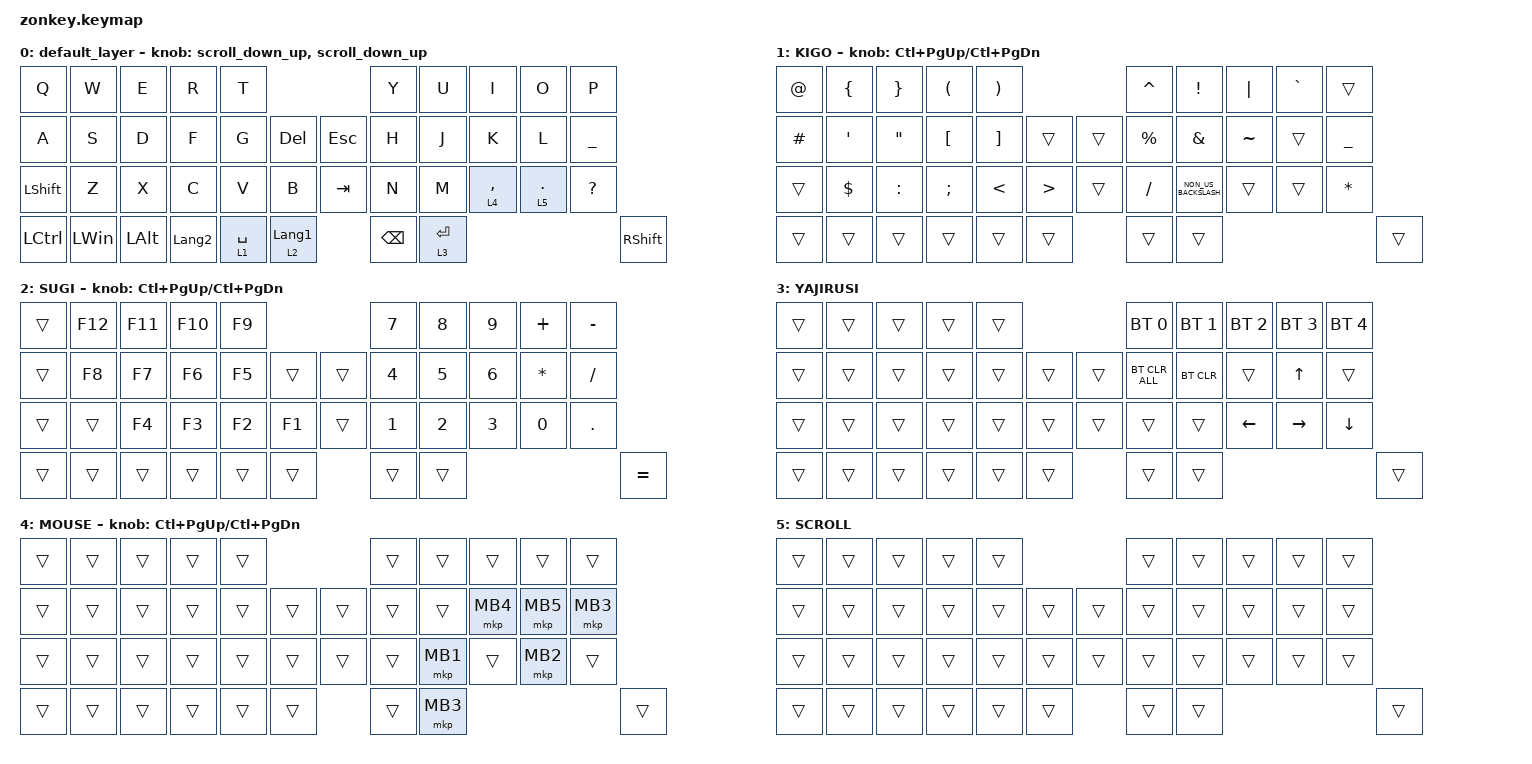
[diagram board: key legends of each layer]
#include <physical_layouts.dtsi>
#include <behaviors.dtsi>
#include <dt-bindings/zmk/bt.h>
#include <dt-bindings/zmk/keys.h>
#include <dt-bindings/zmk/pointing.h>

#define ZMK_POINTING_DEFAULT_SCRL_VAL 100
#define MOUSE 4
#define SCROLL 5
#define DFb 0
#define JIS 1
#define BT 4
#define JP_DQUOTE       AT                // "
#define JP_AMPERSAND    CARET             // &
#define JP_QUOTE        AMPERSAND         // '
#define JP_EQUAL        UNDER             // =
#define JP_CARET        EQUAL             // ^
#define JP_YEN          0x89              // ¥
#define JP_PLUS         COLON             // +
#define JP_TILDE        PLUS              // ~
#define JP_PIPE         LS(0x89)          // |
#define JP_AT           LEFT_BRACKET      // @
#define JP_COLON        SINGLE_QUOTE      // :
#define JP_ASTERISK     DOUBLE_QUOTES     // *
#define JP_BACKQUOTE    LEFT_BRACE        // `
#define JP_UNDERSCORE   LS(0x87)          // _
#define JP_LBRACKET     RIGHT_BRACKET     // [
#define JP_RBRACKET     BACKSLASH         // ]
#define JP_LPAREN       ASTERISK          // (
#define JP_RPAREN       LEFT_PARENTHESIS  // )
#define JP_LBRACE       RIGHT_BRACE       // {
#define JP_RBRACE       PIPE              // }
#define JP_KANA         LANGUAGE_1        // かな
#define JP_EISU         LANGUAGE_2        // 英数
#define JP_HANZEN       GRAVE             // 半角/全角
#define JP_BSLH  INT1         // (backslash)

&mt {
    flavor = "balanced";
    quick-tap-ms = <0>;
};

/ {
    combos { compatible = "zmk,combos"; };

    macros {
        to_layer_0: to_layer_0 {
            compatible = "zmk,behavior-macro-one-param";
            #binding-cells = <1>;
            bindings = <&to 0 &macro_param_1to1 &kp MACRO_PLACEHOLDER>;
            label = "TO_LAYER_0";
        };
    };

    behaviors {
        lt_to_layer_0: lt_to_layer_0 {
            compatible = "zmk,behavior-hold-tap";
            label = "LAYER_TAP_TO_0";
            bindings = <&mo>, <&to_layer_0>;

            #binding-cells = <2>;
            tapping-term-ms = <200>;
        };

        scroll_down_up: behavior_sensor_rotate_mouse_wheel_down_up {
            compatible = "zmk,behavior-sensor-rotate";
            #sensor-binding-cells = <0>;
            bindings = <&msc SCRL_DOWN>, <&msc SCRL_UP>;

            tap-ms = <20>;
        };
    };

    keymap {
        compatible = "zmk,keymap";

        default_layer {
            sensor-bindings = <&scroll_down_up>, <&scroll_down_up>;

            bindings = <
&kp Q           &kp W         &kp E         &kp R           &kp T                                        &kp Y          &kp U        &kp I        &kp O         &kp P
&kp A           &kp S         &kp D         &kp F           &kp G        &kp DELETE          &kp ESCAPE  &kp H          &kp J        &kp K        &kp L         &kp UNDERSCORE
&kp LEFT_SHIFT  &kp Z         &kp X         &kp C           &kp V        &kp B               &kp TAB     &kp N          &kp M        &lt 4 COMMA  &lt 5 PERIOD  &kp QUESTION
&kp LCTRL       &kp LEFT_WIN  &kp LEFT_ALT  &kp LANGUAGE_2  &lt 1 SPACE  &lt 2 LANGUAGE_1                &kp BACKSPACE  &lt 3 ENTER                                             &kp RIGHT_SHIFT
            >;
        };

        KIGO {
            bindings = <
&kp AT_SIGN  &kp LEFT_BRACE  &kp RIGHT_BRACE    &kp LEFT_PARENTHESIS  &kp RIGHT_PARENTHESIS                              &kp CARET    &kp EXCLAMATION       &kp PIPE   &kp GRAVE  &trans
&kp HASH     &kp SQT         &kp DOUBLE_QUOTES  &kp LEFT_BRACKET      &kp RIGHT_BRACKET      &trans              &trans  &kp PERCENT  &kp AMPERSAND         &kp TILDE  &trans     &kp UNDERSCORE
&trans       &kp DOLLAR      &kp COLON          &kp SEMICOLON         &kp LESS_THAN          &kp GREATER_THAN    &trans  &kp SLASH    &kp NON_US_BACKSLASH  &trans     &trans     &kp ASTERISK
&trans       &trans          &trans             &trans                &trans                 &trans                      &trans       &trans                                                      &trans
            >;

            sensor-bindings = <&inc_dec_kp LC(PAGE_UP) LC(PAGE_DOWN)>;
        };

        SUGI {
            bindings = <
&trans  &kp F12  &kp F11  &kp F10  &kp F9                    &kp N7        &kp N8        &kp N9        &kp PLUS      &kp MINUS
&trans  &kp F8   &kp F7   &kp F6   &kp F5  &trans    &trans  &kp NUMBER_4  &kp N5        &kp NUMBER_6  &kp ASTERISK  &kp SLASH
&trans  &trans   &kp F4   &kp F3   &kp F2  &kp F1    &trans  &kp NUMBER_1  &kp NUMBER_2  &kp NUMBER_3  &kp N0        &kp PERIOD
&trans  &trans   &trans   &trans   &trans  &trans            &trans        &trans                                                &kp EQUAL
            >;

            sensor-bindings = <&inc_dec_kp LC(PAGE_UP) LC(PAGE_DOWN)>;
        };

        YAJIRUSI {
            bindings = <
&trans  &trans  &trans  &trans  &trans                    &bt BT_SEL 0    &bt BT_SEL 1  &bt BT_SEL 2  &bt BT_SEL 3  &bt BT_SEL 4
&trans  &trans  &trans  &trans  &trans  &trans    &trans  &bt BT_CLR_ALL  &bt BT_CLR    &trans        &kp UP_ARROW  &trans
&trans  &trans  &trans  &trans  &trans  &trans    &trans  &trans          &trans        &kp LEFT      &kp RIGHT     &kp DOWN_ARROW
&trans  &trans  &trans  &trans  &trans  &trans            &trans          &trans                                                    &trans
            >;
        };

        MOUSE {
            bindings = <
&trans  &trans  &trans  &trans  &trans                    &trans  &trans    &trans    &trans    &trans
&trans  &trans  &trans  &trans  &trans  &trans    &trans  &trans  &trans    &mkp MB4  &mkp MB5  &mkp MB3
&trans  &trans  &trans  &trans  &trans  &trans    &trans  &trans  &mkp MB1  &trans    &mkp MB2  &trans
&trans  &trans  &trans  &trans  &trans  &trans            &trans  &mkp MB3                                &trans
            >;

            sensor-bindings = <&inc_dec_kp LC(PAGE_UP) LC(PAGE_DOWN)>;
        };

        SCROLL {
            bindings = <
&trans  &trans  &trans  &trans  &trans                    &trans  &trans  &trans  &trans  &trans
&trans  &trans  &trans  &trans  &trans  &trans    &trans  &trans  &trans  &trans  &trans  &trans
&trans  &trans  &trans  &trans  &trans  &trans    &trans  &trans  &trans  &trans  &trans  &trans
&trans  &trans  &trans  &trans  &trans  &trans            &trans  &trans                          &trans
            >;
        };
    };
};
